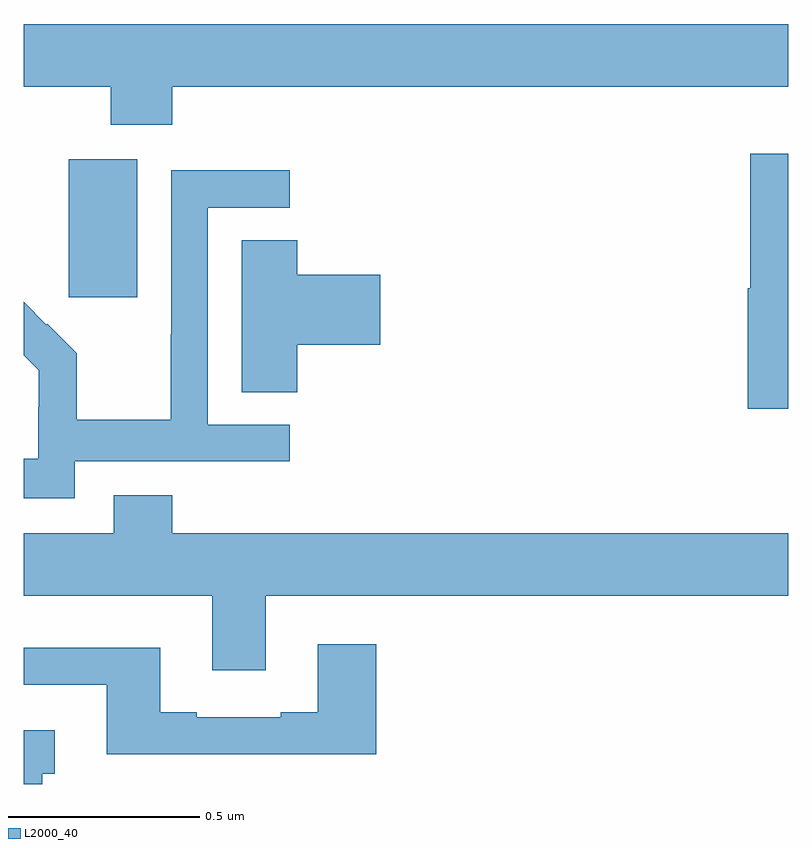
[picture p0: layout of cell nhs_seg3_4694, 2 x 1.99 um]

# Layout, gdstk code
import gdstk
lib = gdstk.Library(unit=1e-6, precision=1e-09)
def R(c, l, rs):  # rectangles x0, y0, x1, y1
    for r in rs: c.add(gdstk.rectangle(r[:2], r[2:], *l))
def P(c, l, *ps):  # polygons
    for p in ps: c.add(gdstk.Polygon(p, *l))
L2000_40 = (2000, 40)

nhs_seg3_4694 = lib.new_cell('nhs_seg3_4694')
R(nhs_seg3_4694, L2000_40, [(169.118,725.673,169.297,726.034)])
P(nhs_seg3_4694, L2000_40, [(169.388,726.224),(171,726.224),(171,726.388),(169,726.388),(169,726.224),(169.228,726.224),(169.228,726.125),(169.388,726.125)],
  [(171,726.049),(170.9,726.049),(170.9,725.697),(170.894,725.697),(170.894,725.382),(171,725.382)],
  [(169.134,725.244),(169.696,725.244),(169.696,725.34),(169.482,725.34),(169.482,725.907),(169.696,725.907),(169.696,726.006),(169.386,726.006),(169.386,725.576),(169.384,725.576),(169.384,725.353),(169.139,725.353),(169.139,725.527),(169.062,725.604),(169.059,725.601),(169,725.661),(169,725.522),(169.04,725.482),(169.04,725.385),(169.038,725.385),(169.038,725.251),(169,725.251),(169,725.147),(169.134,725.147)],
  [(169.715,725.549),(169.933,725.549),(169.933,725.732),(169.715,725.732),(169.715,725.822),(169.571,725.822),(169.571,725.425),(169.715,725.425)],
  [(169.633,724.892),(171,724.892),(171,725.056),(169.388,725.056),(169.388,725.155),(169.235,725.155),(169.235,725.056),(169,725.056),(169,724.892),(169.493,724.892),(169.493,724.698),(169.633,724.698)],
  [(169.922,724.765),(169.769,724.765),(169.769,724.588),(169.673,724.588),(169.673,724.575),(169.453,724.575),(169.453,724.588),(169.357,724.588),(169.357,724.756),(169,724.756),(169,724.659),(169.217,724.659),(169.217,724.478),(169.922,724.478)],
  [(169.048,724.427),(169.081,724.427),(169.081,724.54),(169,724.54),(169,724.4),(169.048,724.4)])

lib.write_gds('nhs_seg3_4694.gds')
